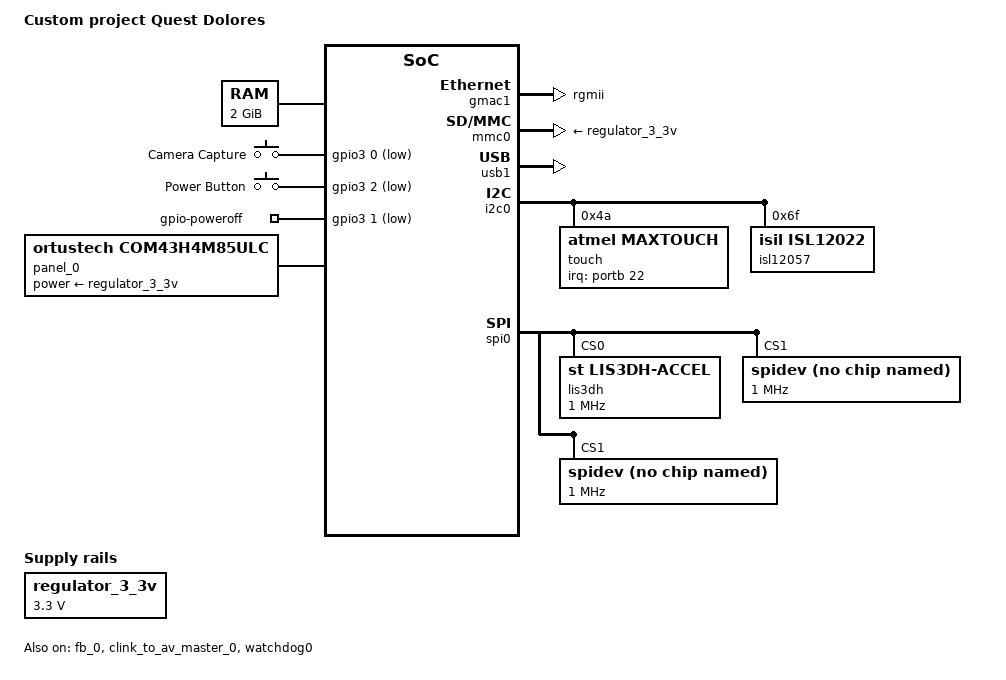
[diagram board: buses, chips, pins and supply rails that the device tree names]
/*
 *  Copyright (C) 2018 Quest Innovations <www.quest-innovations.com>
 *
 * This program is free software; you can redistribute it and/or modify
 * it under the terms of the GNU General Public License as published by
 * the Free Software Foundation; either version 2 of the License, or
 * (at your option) any later version.
 *
 * This program is distributed in the hope that it will be useful,
 * but WITHOUT ANY WARRANTY; without even the implied warranty of
 * MERCHANTABILITY or FITNESS FOR A PARTICULAR PURPOSE.  See the
 * GNU General Public License for more details.
 *
 * You should have received a copy of the GNU General Public License
 * along with this program.  If not, see <http://www.gnu.org/licenses/>.
 */

/dts-v1/;
#include "socfpga_cyclone5_dolores_base.dtsi"
#include <dt-bindings/interrupt-controller/irq.h>
#include <dt-bindings/gpio/gpio.h>
#include <dt-bindings/input/input.h>

/ {
	model = "Custom project Quest Dolores";
	compatible = "altr,socfpga-cyclone5", "altr,socfpga";

	chosen {
		bootargs = "console=ttyS0,115200";
	};

	memory {
		name = "memory";
		device_type = "memory";
		reg = <0x0 0x80000000>; /* 1GB */
	};

	aliases {
		/* this allow the ethaddr uboot environmnet variable contents
		 * to be added to the gmac1 device tree blob.
		 */
		ethernet0 = &gmac1;
	};

	gpiokeys {
		compatible = "gpio-keys";
		camera_capture {
			label = "Camera Capture";
			gpios = <&gpio3 0 GPIO_ACTIVE_LOW>;
			linux,code = <KEY_CAMERA>;
			linux,can-disable;
			status = "okay";
		};
		power_button {
			label = "Power Button";
			gpios = <&gpio3 2 GPIO_ACTIVE_LOW>; 
			linux,code = <KEY_POWER>;
			linux,can-disable;
			status = "okay";
		};
		
	};
	gpio-poweroff {
		compatible = "gpio-poweroff";
		gpios = <&gpio3 1 GPIO_ACTIVE_LOW>;
		status = "okay";
	};

	panel_0: panel {
		compatible = "ortustech,com43h4m85ulc";
		power-supply = <&regulator_3_3v>;
	};

	regulator_3_3v: vcc3p3-regulator {
		compatible = "regulator-fixed";
		regulator-name = "VCC3P3";
		regulator-min-microvolt = <3300000>;
		regulator-max-microvolt = <3300000>;
	};
};

&gmac1 {
	status = "okay";
	phy-mode = "rgmii";

	rxd0-skew-ps = <0>;
	rxd1-skew-ps = <0>;
	rxd2-skew-ps = <0>;
	rxd3-skew-ps = <0>;
	txen-skew-ps = <0>;
	txc-skew-ps = <2600>;
	rxdv-skew-ps = <0>;
	rxc-skew-ps = <2000>;
};

&mmc0 {
	vmmc-supply = <&regulator_3_3v>;
	vqmmc-supply = <&regulator_3_3v>;
	status = "okay";
};

&usb1 {
	status = "okay";
};

&qspi {
	status = "disabled";

	flash0: n25q00@0 {
		#address-cells = <1>;
		#size-cells = <1>;
		compatible = "n25q00";
		reg = <0>;
		spi-max-frequency = <100000000>;
		cdns,page-size = <256>;
		cdns,block-size = <16>;
		m25p,fast-read;
		cdns,read-delay = <4>;
		cdns,tshsl-ns = <50>;
		cdns,tsd2d-ns = <50>;
		cdns,tchsh-ns = <4>;
		cdns,tslch-ns = <4>;

		part0: partition@0 {
			label = "Flash 0 Raw Data";
			reg = < 0x00000000 0x01000000 >;
		};

		part1: partition@800000 {
			label = "Flash 1 jffs2 Filesystem";
			reg = < 0x01000000 0x03000000 >;
		};
	};
};

&gpio1 {
	status = "okay";
};

&gpio2 {
	status = "okay";
};

&i2c0 {
	status = "okay";
	touch@4a {
		compatible = "atmel,maxtouch";
		reg = <0x4a>;
		interrupt-parent = <&portb>;
		interrupts = <22 IRQ_TYPE_EDGE_FALLING>;
	};
	isl12057: isl12057@6F {
		compatible = "isil,isl12022";
		reg = <0x6F>;
	};

};

&spi0 {
	status = "okay";
	lis3dh: accelerometer@0{
//		compatible = "spidev";
//		compatible = "st,lis3dh";
		compatible = "st,lis3dh-accel";
		reg = <0>;
		spi-max-frequency = <1000000>;
		spi-cpol;
		spi-cpha;
		st,drdy-int-pin = <1>;

//		vdd-supply = <&regulator_3_3v>;

//		interrupt-parent = <&portb>;
//		interrupts = <23 IRQ_TYPE_EDGE_FALLING>;
//		interrupt-parent = <&gpio3>;
//		interrupts = <3>; /* gpio34 */
	};
	spidev@1 {
		compatible = "spidev";
		reg = <1>;
		spi-max-frequency = <1000000>;
		status = "okay";
	};
	spidev@2 {
		compatible = "spidev";
		reg = <1>;
		spi-max-frequency = <1000000>;
		status = "okay";
	};
};

&fb_0{
	status = "okay";
	ports {
		#address-cells = <1>;
		#size-cells = <0>;
		
		port@1 {
			reg = <1>;
			fb_output: endpoint {
			        remote-endpoint = <&panel_0>;
			};
		};
	};
};


&clink_to_av_master_0 {
	compatible = "quest,qdma-clink-1.0.0";
	device = "qdma_clink";
	status = "okay";
};

&ez_usb_dma_0 {
	compatible = "quest,qdma-fx3-1.0.0";
	device = "qdma_fx3_0";
	status = "okay";
};

&watchdog0 {
	status = "okay";
};
